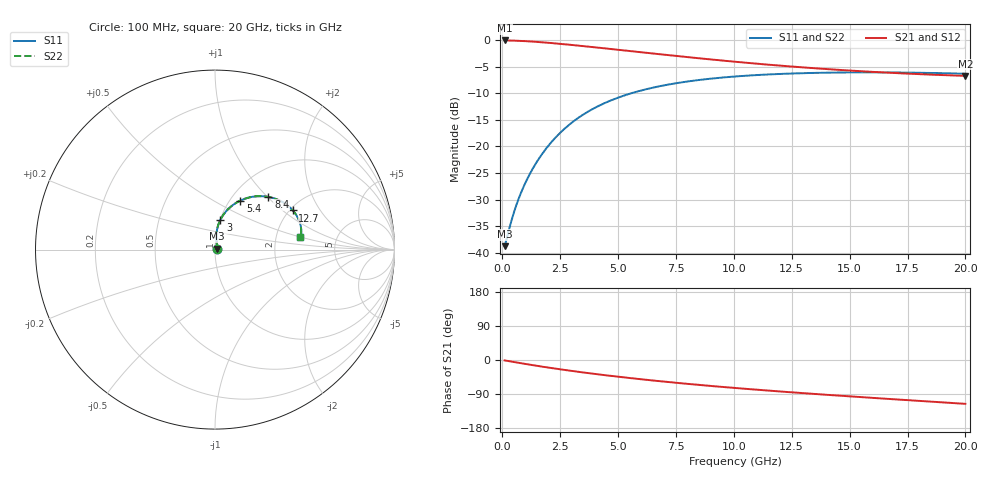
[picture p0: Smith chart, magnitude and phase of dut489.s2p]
! Touchstone file exported from HFSS 2024.1.0
!  File:  C:/UserFiles/LocalFiles/RDL_TSV_Batchsim/temp_RDL_TSV_489_1779734330.aedt
!  Generated:  02:54:51 AM May 26, 2026
!  Design:  RDL_TSV
!  Project:  temp_RDL_TSV_489_1779734330
!  Setup:  Setup1
!  Solution:  Sweep
! Variables:
!  dtsv = 6.75um
!  hbump = 3um
!  htsv = 56.58um
!  ldown = 367.58um
!  lrdl = 123.29um
!  p = 40
!  p1 = 58.65um
!  rhole = 10um
!  subl = 1595.9um
!  t = 450um
!  tdown = 4.6um
!  trdl = 4.59um
!  viad = 10um
!  wdown = 10.67um
!  wrdl = 23.83um
!  xbump = 18um
# GHz S MA R 50.000000
! Terminal data exported
! Port[1] = TM1_1_T1
! Port[2] = TM1_4_T1
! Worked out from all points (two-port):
!   200 points, 100 MHz to 20 GHz, reference 50 ohm
!   highest |S21| = -0.10 dB at 100 MHz (marker M1); lowest = -6.8 dB at 20 GHz (marker M2)
!   |S21| within 3 dB of the highest: start of sweep to 7.708 GHz
!   lowest |S11| = -38.7 dB at 100 MHz (marker M3), VSWR 1.02, Z = 51.1 + j0.45 ohm
!   |S11| at or under -10 dB: start of sweep to 5.584 GHz
!   |S22| runs from -38.7 to -6.1 dB; largest |S21 - S12| = 8.9e-14
!   S11 on the Smith chart (normalised r, x): 100 MHz: 1.02, +0.01; 3 GHz: 1.00, +0.34; 5.4 GHz: 1.11, +0.67; 8.4 GHz: 1.42, +1.01; 12.7 GHz: 2.08, +1.18; 20 GHz: 2.75, +0.51
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0.1  0.01155 22.4  0.9891 -1.1  0.9891 -1.1  0.01155 22.4
! Gamma 0 0 0 0
! Port Impedance 50 0 50 0
0.4  0.02022 58.5  0.9866 -4.3  0.9866 -4.3  0.02022 58.5
0.6  0.02781 68.9  0.9835 -6.4  0.9835 -6.4  0.02781 68.9
0.7  0.03195 72.4  0.9816 -7.4  0.9816 -7.4  0.03195 72.4
0.9  0.04084 77.5  0.977 -9.5  0.977 -9.5  0.04084 77.5
1.2  0.05564 82.0  0.9687 -12.5  0.9687 -12.5  0.05564 82.0
1.6  0.07779 84.4  0.9554 -16.4  0.9554 -16.4  0.07778 84.4
2  0.1021 84.5  0.9401 -20.1  0.9401 -20.1  0.1021 84.5
2.5  0.1342 82.8  0.9193 -24.6  0.9193 -24.6  0.1342 82.8
3  0.167 79.9  0.8975 -28.8  0.8975 -28.8  0.167 79.9
3.5  0.1994 76.5  0.8752 -32.9  0.8752 -32.9  0.1994 76.5
4.4  0.2541 69.9  0.8351 -39.8  0.8351 -39.8  0.254 69.9
5.4  0.3074 62.7  0.7917 -46.9  0.7917 -46.9  0.3074 62.7
6.8  0.3677 53.5  0.7344 -55.9  0.7344 -55.9  0.3677 53.5
8.4  0.4182 44.6  0.6759 -65.2  0.6759 -65.2  0.4181 44.6
10.1  0.4546 36.6  0.6226 -74.1  0.6226 -74.1  0.4545 36.6
11.4  0.4731 31.3  0.588 -80.3  0.588 -80.3  0.4731 31.3
12.7  0.4855 26.7  0.5582 -86.2  0.5582 -86.2  0.4855 26.7
13.4  0.49 24.4  0.544 -89.2  0.544 -89.2  0.49 24.4
15  0.4955 19.7  0.5159 -95.9  0.5159 -95.9  0.4955 19.7
16.7  0.4954 15.3  0.4921 -102.8  0.4921 -102.8  0.4954 15.3
20  0.4816 8.5  0.4597 -115.7  0.4597 -115.7  0.4816 8.5
